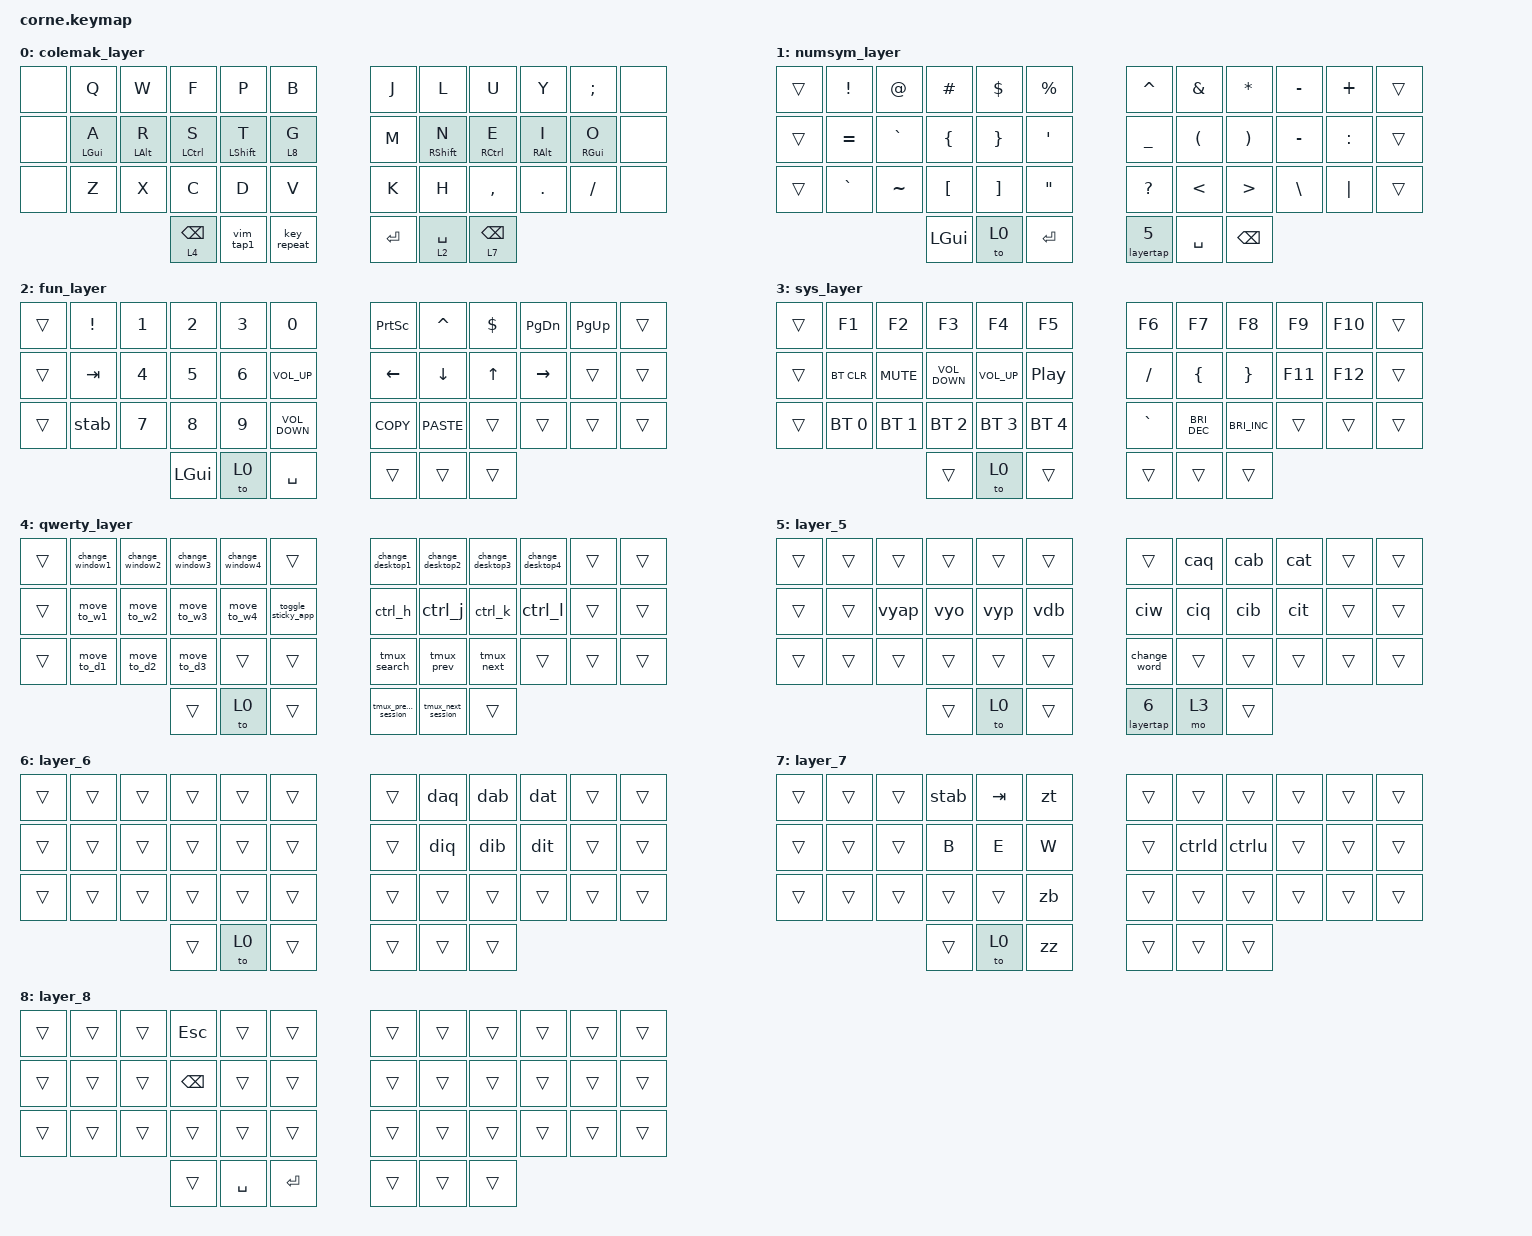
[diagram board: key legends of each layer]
/*
 * Copyright (c) 2020 The ZMK Contributors
 *
 * SPDX-License-Identifier: MIT
 */

#include <behaviors.dtsi>
#include <dt-bindings/zmk/bt.h>
#include <dt-bindings/zmk/keys.h>

/ {
    combos {
        compatible = "zmk,combos";

        capsword {
            bindings = <&shift LEFT_SHIFT>;
            key-positions = <8 9>;
        };

        escape {
            bindings = <&kp ESCAPE>;
            key-positions = <20 21>;
        };

        semicolon {
            bindings = <&kp SEMICOLON>;
            key-positions = <7 8>;
        };

        capslock {
            bindings = <&caps_word>;
            key-positions = <2 9>;
        };

        bac {
            bindings = <&kp BACKSLASH>;
            key-positions = <32 31>;
        };
    };

    conditional_layers { compatible = "zmk,conditional-layers"; };

    macros {
        change_window1: change_window1 {
            compatible = "zmk,behavior-macro";
            #binding-cells = <0>;
            bindings =
                <&macro_press>,
                <&kp LEFT_SHIFT &kp LEFT_ALT>,
                <&macro_tap>,
                <&kp Q>,
                <&macro_release>,
                <&kp LEFT_SHIFT &kp LEFT_ALT>;

            label = "CHANGE_WINDOW1";
        };

        change_window2: change_window2 {
            compatible = "zmk,behavior-macro";
            #binding-cells = <0>;
            bindings =
                <&macro_press>,
                <&kp LEFT_SHIFT &kp LEFT_ALT>,
                <&macro_tap>,
                <&kp W>,
                <&macro_release>,
                <&kp LEFT_SHIFT &kp LEFT_ALT>;

            label = "CHANGE_WINDOW2";
        };

        change_window3: change_window3 {
            compatible = "zmk,behavior-macro";
            #binding-cells = <0>;
            bindings =
                <&macro_press>,
                <&kp LEFT_SHIFT &kp LEFT_ALT>,
                <&macro_tap>,
                <&kp E>,
                <&macro_release>,
                <&kp LEFT_SHIFT &kp LEFT_ALT>;

            label = "CHANGE_WINDOW3";
        };

        change_window4: change_window4 {
            compatible = "zmk,behavior-macro";
            #binding-cells = <0>;
            bindings =
                <&macro_press>,
                <&kp LEFT_SHIFT &kp LEFT_ALT>,
                <&macro_tap>,
                <&kp R>,
                <&macro_release>,
                <&kp LEFT_SHIFT &kp LEFT_ALT>;

            label = "CHANGE_WINDOW4";
        };

        change_desktop1: change_desktop1 {
            compatible = "zmk,behavior-macro";
            #binding-cells = <0>;
            bindings =
                <&macro_press>,
                <&kp LEFT_SHIFT &kp LEFT_ALT>,
                <&macro_tap>,
                <&kp NUMBER_1>,
                <&macro_release>,
                <&kp LEFT_SHIFT &kp LEFT_ALT>;

            label = "CHANGE_DESKTOP1";
        };

        change_desktop2: change_desktop2 {
            compatible = "zmk,behavior-macro";
            #binding-cells = <0>;
            bindings =
                <&macro_press>,
                <&kp LEFT_SHIFT &kp LEFT_ALT>,
                <&macro_tap>,
                <&kp NUMBER_2>,
                <&macro_release>,
                <&kp LEFT_SHIFT &kp LEFT_ALT>;

            label = "CHANGE_DESKTOP2";
        };

        change_desktop3: change_desktop3 {
            compatible = "zmk,behavior-macro";
            #binding-cells = <0>;
            bindings =
                <&macro_press>,
                <&kp LEFT_SHIFT &kp LEFT_ALT>,
                <&macro_tap>,
                <&kp NUMBER_3>,
                <&macro_release>,
                <&kp LEFT_SHIFT &kp LEFT_ALT>;

            label = "CHANGE_DESKTOP3";
        };

        change_desktop4: change_desktop4 {
            compatible = "zmk,behavior-macro";
            #binding-cells = <0>;
            bindings =
                <&macro_press>,
                <&kp LEFT_SHIFT &kp LEFT_ALT>,
                <&macro_tap>,
                <&kp NUMBER_4>,
                <&macro_release>,
                <&kp LEFT_SHIFT &kp LEFT_ALT>;

            label = "CHANGE_DESKTOP4";
        };

        move_to_w1: move_to_w1 {
            compatible = "zmk,behavior-macro";
            #binding-cells = <0>;
            bindings =
                <&macro_press>,
                <&kp LEFT_SHIFT &kp LEFT_ALT>,
                <&macro_tap>,
                <&kp A>,
                <&macro_release>,
                <&kp LEFT_SHIFT &kp LEFT_ALT>;

            label = "MOVE_TO_W1";
        };

        move_to_w2: move_to_w2 {
            compatible = "zmk,behavior-macro";
            #binding-cells = <0>;
            bindings =
                <&macro_press>,
                <&kp LEFT_SHIFT &kp LEFT_ALT>,
                <&macro_tap>,
                <&kp S>,
                <&macro_release>,
                <&kp LEFT_SHIFT &kp LEFT_ALT>;

            label = "MOVE_TO_W2";
        };

        move_to_w3: move_to_w3 {
            compatible = "zmk,behavior-macro";
            #binding-cells = <0>;
            bindings =
                <&macro_press>,
                <&kp LEFT_SHIFT &kp LEFT_ALT>,
                <&macro_tap>,
                <&kp D>,
                <&macro_release>,
                <&kp LEFT_SHIFT &kp LEFT_ALT>;

            label = "MOVE_TO_W3";
        };

        move_to_w4: move_to_w4 {
            compatible = "zmk,behavior-macro";
            #binding-cells = <0>;
            bindings =
                <&macro_press>,
                <&kp LEFT_SHIFT &kp LEFT_ALT>,
                <&macro_tap>,
                <&kp F>,
                <&macro_release>,
                <&kp LEFT_SHIFT &kp LEFT_ALT>;

            label = "MOVE_TO_W4";
        };

        move_to_d1: move_to_d1 {
            compatible = "zmk,behavior-macro";
            #binding-cells = <0>;
            bindings =
                <&macro_press>,
                <&kp LEFT_SHIFT &kp LEFT_ALT>,
                <&macro_tap>,
                <&kp Z>,
                <&macro_release>,
                <&kp LEFT_SHIFT &kp LEFT_ALT>;

            label = "MOVE_TO_D1";
        };

        move_to_d2: move_to_d2 {
            compatible = "zmk,behavior-macro";
            #binding-cells = <0>;
            bindings =
                <&macro_press>,
                <&kp LEFT_SHIFT &kp LEFT_ALT>,
                <&macro_tap>,
                <&kp X>,
                <&macro_release>,
                <&kp LEFT_SHIFT &kp LEFT_ALT>;

            label = "MOVE_TO_D2";
        };

        move_to_d3: move_to_d3 {
            compatible = "zmk,behavior-macro";
            #binding-cells = <0>;
            bindings =
                <&macro_press>,
                <&kp LEFT_SHIFT &kp LEFT_ALT>,
                <&macro_tap>,
                <&kp C>,
                <&macro_release>,
                <&kp LEFT_SHIFT &kp LEFT_ALT>;

            label = "MOVE_TO_D3";
        };

        toggle_sticky_app: toggle_sticky_app {
            compatible = "zmk,behavior-macro";
            #binding-cells = <0>;
            bindings =
                <&macro_press>,
                <&kp LEFT_SHIFT &kp LEFT_ALT>,
                <&macro_tap>,
                <&kp L>,
                <&macro_release>,
                <&kp LEFT_SHIFT &kp LEFT_ALT>;

            label = "TOGGLE_STICKY_APP";
        };

        cib: cib {
            compatible = "zmk,behavior-macro";
            #binding-cells = <0>;
            bindings = <&macro_tap>, <&kp C &kp I &kp B>;

            label = "CIB";
        };

        cab: cab {
            compatible = "zmk,behavior-macro";
            #binding-cells = <0>;
            bindings = <&macro_tap>, <&kp C &kp A &kp B>;

            label = "CAB";
        };

        ciq: ciq {
            compatible = "zmk,behavior-macro";
            #binding-cells = <0>;
            bindings = <&macro_tap>, <&kp C &kp I &kp Q>;

            label = "CIQ";
        };

        caq: caq {
            compatible = "zmk,behavior-macro";
            #binding-cells = <0>;
            bindings = <&macro_tap>, <&kp C &kp A &kp Q>;

            label = "CAQ";
        };

        cat: cat {
            compatible = "zmk,behavior-macro";
            #binding-cells = <0>;
            bindings = <&macro_tap>, <&kp C &kp A &kp T>;

            label = "CAT";
        };

        cit: cit {
            compatible = "zmk,behavior-macro";
            #binding-cells = <0>;
            bindings = <&macro_tap>, <&kp C &kp I &kp T>;

            label = "CIT";
        };

        dib: dib {
            compatible = "zmk,behavior-macro";
            #binding-cells = <0>;
            bindings = <&macro_tap>, <&kp D &kp I &kp B>;

            label = "DIB";
        };

        dab: dab {
            compatible = "zmk,behavior-macro";
            #binding-cells = <0>;
            bindings = <&macro_tap>, <&kp D &kp A &kp B>;

            label = "DAB";
        };

        daq: daq {
            compatible = "zmk,behavior-macro";
            #binding-cells = <0>;
            bindings = <&macro_tap>, <&kp D &kp A &kp Q>;

            label = "DAQ";
        };

        diq: diq {
            compatible = "zmk,behavior-macro";
            #binding-cells = <0>;
            bindings = <&macro_tap>, <&kp D &kp I &kp Q>;

            label = "DIQ";
        };

        dat: dat {
            compatible = "zmk,behavior-macro";
            #binding-cells = <0>;
            bindings = <&macro_tap>, <&kp D &kp A &kp T>;

            label = "DAT";
        };

        vyap: vyap {
            compatible = "zmk,behavior-macro";
            #binding-cells = <0>;
            bindings = <&macro_tap>, <&kp V &kp Y &kp A &kp P>;

            label = "VYAP";
        };

        vyo: vyo {
            compatible = "zmk,behavior-macro";
            #binding-cells = <0>;
            bindings = <&macro_tap>, <&kp V &kp Y &kp O>;

            label = "VYO";
        };

        vyp: vyp {
            compatible = "zmk,behavior-macro";
            #binding-cells = <0>;
            bindings = <&macro_tap>, <&kp V &kp Y &kp P>;

            label = "VYP";
        };

        vdb: vdb {
            compatible = "zmk,behavior-macro";
            #binding-cells = <0>;
            bindings = <&macro_tap>, <&kp V &kp D &kp B>;

            label = "VDB";
        };

        ctrlu: ctrlu {
            compatible = "zmk,behavior-macro";
            #binding-cells = <0>;
            bindings =
                <&macro_press>,
                <&kp LEFT_CONTROL>,
                <&macro_tap>,
                <&kp U>,
                <&macro_release>,
                <&kp LEFT_CONTROL>;

            label = "CTRLU";
        };

        stab: stab {
            compatible = "zmk,behavior-macro";
            #binding-cells = <0>;
            bindings =
                <&macro_press>,
                <&kp LEFT_SHIFT>,
                <&macro_tap>,
                <&kp TAB>,
                <&macro_release>,
                <&kp LEFT_SHIFT>;

            label = "STAB";
        };

        ctrld: ctrld {
            compatible = "zmk,behavior-macro";
            #binding-cells = <0>;
            bindings =
                <&macro_press>,
                <&kp LEFT_CONTROL>,
                <&macro_tap>,
                <&kp D>,
                <&macro_release>,
                <&kp LEFT_CONTROL>;

            label = "CTRLD";
        };

        zz: zz {
            compatible = "zmk,behavior-macro";
            #binding-cells = <0>;
            bindings = <&macro_tap>, <&kp Z &kp Z>;

            label = "ZZ";
        };

        change_word: change_word {
            compatible = "zmk,behavior-macro";
            #binding-cells = <0>;
            bindings = <&macro_tap>, <&kp C &kp W>;

            label = "CHANGE_WORD";
        };

        ciw: ciw {
            compatible = "zmk,behavior-macro";
            #binding-cells = <0>;
            bindings = <&macro_tap>, <&kp C &kp I &kp W>;

            label = "CIW";
        };

        ctrl_h: ctrl_h {
            compatible = "zmk,behavior-macro";
            #binding-cells = <0>;
            bindings =
                <&macro_press>,
                <&kp LEFT_CONTROL>,
                <&macro_tap>,
                <&kp H>,
                <&macro_release>,
                <&kp LEFT_CONTROL>;

            label = "CTRL_H";
        };

        ctrl_j: ctrl_j {
            compatible = "zmk,behavior-macro";
            #binding-cells = <0>;
            bindings =
                <&macro_press>,
                <&kp LEFT_CONTROL>,
                <&macro_tap>,
                <&kp J>,
                <&macro_release>,
                <&kp LEFT_CONTROL>;

            label = "CTRL_J";
        };

        ctrl_k: ctrl_k {
            compatible = "zmk,behavior-macro";
            #binding-cells = <0>;
            bindings =
                <&macro_press>,
                <&kp LEFT_CONTROL>,
                <&macro_tap>,
                <&kp K>,
                <&macro_release>,
                <&kp LEFT_CONTROL>;

            label = "CTRL_K";
        };

        ctrl_l: ctrl_l {
            compatible = "zmk,behavior-macro";
            #binding-cells = <0>;
            bindings =
                <&macro_press>,
                <&kp LEFT_CONTROL>,
                <&macro_tap>,
                <&kp L>,
                <&macro_release>,
                <&kp LEFT_CONTROL>;

            label = "CTRL_L";
        };

        change_window1_mac: change_window1_mac {
            compatible = "zmk,behavior-macro";
            #binding-cells = <0>;
            bindings =
                <&macro_press>,
                <&kp LEFT_CONTROL>,
                <&macro_tap>,
                <&kp NUMBER_1>,
                <&macro_release>,
                <&kp LEFT_CONTROL>;

            label = "CHANGE_WINDOW1_MAC";
        };

        change_window2_mac: change_window2_mac {
            compatible = "zmk,behavior-macro";
            #binding-cells = <0>;
            bindings =
                <&macro_press>,
                <&kp LEFT_CONTROL>,
                <&macro_tap>,
                <&kp NUMBER_2>,
                <&macro_release>,
                <&kp LEFT_CONTROL>;

            label = "CHANGE_WINDOW2_MAC";
        };

        change_window3_mac: change_window3_mac {
            compatible = "zmk,behavior-macro";
            #binding-cells = <0>;
            bindings =
                <&macro_press>,
                <&kp LEFT_CONTROL>,
                <&macro_tap>,
                <&kp NUMBER_3>,
                <&macro_release>,
                <&kp LEFT_CONTROL>;

            label = "CHANGE_WINDOW3_MAC";
        };

        change_window4_mac: change_window4_mac {
            compatible = "zmk,behavior-macro";
            #binding-cells = <0>;
            bindings =
                <&macro_press>,
                <&kp LEFT_CONTROL>,
                <&macro_tap>,
                <&kp NUMBER_4>,
                <&macro_release>,
                <&kp LEFT_CONTROL>;

            label = "CHANGE_WINDOW4_MAC";
        };

        change_window5_mac: change_window5_mac {
            compatible = "zmk,behavior-macro";
            #binding-cells = <0>;
            bindings =
                <&macro_press>,
                <&kp LEFT_CONTROL>,
                <&macro_tap>,
                <&kp N5>,
                <&macro_release>,
                <&kp LEFT_CONTROL>;

            label = "CHANGE_WINDOW5_MAC";
        };

        move_app_next_mac: move_app_next_mac {
            compatible = "zmk,behavior-macro";
            #binding-cells = <0>;
            bindings =
                <&macro_press>,
                <&kp LEFT_CONTROL &kp LEFT_SHIFT>,
                <&macro_tap>,
                <&kp S>,
                <&macro_release>,
                <&kp LEFT_CONTROL &kp LEFT_SHIFT>;

            label = "MOVE_APP_NEXT_MAC";
        };

        move_app_prev_mac: move_app_prev_mac {
            compatible = "zmk,behavior-macro";
            #binding-cells = <0>;
            bindings =
                <&macro_press>,
                <&kp LEFT_CONTROL &kp LEFT_SHIFT>,
                <&macro_tap>,
                <&kp A>,
                <&macro_release>,
                <&kp LEFT_CONTROL &kp LEFT_SHIFT>;

            label = "MOVE_APP_PREV_MAC";
        };

        tmux_next: tmux_next {
            compatible = "zmk,behavior-macro";
            #binding-cells = <0>;
            bindings =
                <&macro_press>,
                <&kp LEFT_CONTROL>,
                <&macro_tap>,
                <&kp A>,
                <&macro_release>,
                <&kp LEFT_CONTROL>,
                <&macro_tap>,
                <&kp L>;

            label = "TMUX_NEXT";
        };

        tmux_prev: tmux_prev {
            compatible = "zmk,behavior-macro";
            #binding-cells = <0>;
            bindings =
                <&macro_press>,
                <&kp LEFT_CONTROL>,
                <&macro_tap>,
                <&kp A>,
                <&macro_release>,
                <&kp LEFT_CONTROL>,
                <&macro_tap>,
                <&kp H>;

            label = "TMUX_PREV";
        };

        dit: dit {
            compatible = "zmk,behavior-macro";
            #binding-cells = <0>;
            bindings = <&macro_tap>, <&kp D &kp I &kp T>;

            label = "DIT";
        };

        zt: zt {
            compatible = "zmk,behavior-macro";
            #binding-cells = <0>;
            bindings = <&macro_tap>, <&kp Z &kp T>;

            label = "ZT";
        };

        zb: zb {
            compatible = "zmk,behavior-macro";
            #binding-cells = <0>;
            bindings = <&macro_tap>, <&kp Z &kp B>;

            label = "ZB";
        };

        tmux_search: tmux_search {
            compatible = "zmk,behavior-macro";
            #binding-cells = <0>;
            bindings =
                <&macro_press>,
                <&kp LEFT_CONTROL>,
                <&macro_tap>,
                <&kp A>,
                <&macro_release>,
                <&kp LEFT_CONTROL>,
                <&macro_tap>,
                <&kp S>;

            label = "TMUX_SEARCH";
        };

        tmux_previous_session: tmux_previous_session {
            compatible = "zmk,behavior-macro";
            #binding-cells = <0>;
            bindings =
                <&macro_press>,
                <&kp LEFT_CONTROL>,
                <&macro_tap>,
                <&kp A>,
                <&macro_release>,
                <&kp LEFT_CONTROL>,
                <&macro_tap>,
                <&kp LEFT_PARENTHESIS>;

            label = "TMUX_PREVIOUS_SESSION";
        };

        tmux_next_session: tmux_next_session {
            compatible = "zmk,behavior-macro";
            #binding-cells = <0>;
            bindings =
                <&macro_press>,
                <&kp LEFT_CONTROL>,
                <&macro_tap>,
                <&kp A>,
                <&macro_release>,
                <&kp LEFT_CONTROL>,
                <&macro_tap>,
                <&kp RIGHT_PARENTHESIS>;

            label = "TMUX_NEXT_SESSION";
        };
    };

    behaviors {
        shift: shift {
            compatible = "zmk,behavior-sticky-key";
            label = "SHIFT";
            bindings = <&kp>;
            #binding-cells = <1>;
            release-after-ms = <(-1)>;
            quick-release;
        };

        layertap: layertap {
            compatible = "zmk,behavior-sticky-key";
            label = "LAYERTAP";
            bindings = <&mo>;
            #binding-cells = <1>;
            release-after-ms = <(-1)>;
        };

        hmr: hmr {
            compatible = "zmk,behavior-hold-tap";
            label = "HMR";
            bindings = <&kp>, <&kp>;

            #binding-cells = <2>;
            tapping-term-ms = <200>;
            quick-tap-ms = <175>;
            flavor = "tap-preferred";
            hold-trigger-on-release;
            hold-trigger-key-positions = <1 4 5 13 14 15 16 17 25 26 27 28 29 2 3 36 37 38 39 40 41>;
        };

        hml: hml {
            compatible = "zmk,behavior-hold-tap";
            label = "HML";
            bindings = <&kp>, <&kp>;

            #binding-cells = <2>;
            tapping-term-ms = <200>;
            quick-tap-ms = <175>;
            flavor = "tap-preferred";
            hold-trigger-key-positions = <10 6 7 8 9 10 18 19 20 21 22 30 31 32 33 34 39 40 41 38 37 36>;
            hold-trigger-on-release;
        };

        vim_tap1: vim_tap1 {
            compatible = "zmk,behavior-tap-dance";
            label = "VIM_TAP1";
            #binding-cells = <0>;
            bindings = <&layertap 1>;
        };
    };

    keymap {
        compatible = "zmk,keymap";

        colemak_layer {
            bindings = <
&none  &kp Q        &kp W            &kp F                &kp P              &kp B          &kp J      &kp L               &kp U                 &kp Y             &kp SEMICOLON  &none
&none  &hml LGUI A  &hml LEFT_ALT R  &hml LEFT_CONTROL S  &hml LEFT_SHIFT T  &lt 8 G        &kp M      &hmr RIGHT_SHIFT N  &hmr RIGHT_CONTROL E  &hmr RIGHT_ALT I  &hmr RGUI O    &none
&none  &kp Z        &kp X            &kp C                &kp D              &kp V          &kp K      &kp H               &kp COMMA             &kp DOT           &kp FSLH       &none
                                     &lt 4 BACKSPACE      &vim_tap1          &key_repeat    &kp ENTER  &lt 2 SPACE         &lt 7 BACKSPACE
            >;
        };

        numsym_layer {
            bindings = <
&trans  &kp EXCLAMATION  &kp AT_SIGN  &kp HASH          &kp DOLLAR         &kp PERCENT          &kp CARET       &kp AMPERSAND         &kp ASTERISK           &kp MINUS      &kp PLUS   &trans
&trans  &kp EQUAL        &kp GRAVE    &kp LEFT_BRACE    &kp RIGHT_BRACE    &kp SINGLE_QUOTE     &kp UNDERSCORE  &kp LEFT_PARENTHESIS  &kp RIGHT_PARENTHESIS  &kp MINUS      &kp COLON  &trans
&trans  &kp GRAVE        &kp TILDE    &kp LEFT_BRACKET  &kp RIGHT_BRACKET  &kp DOUBLE_QUOTES    &kp QUESTION    &kp LESS_THAN         &kp GREATER_THAN       &kp BACKSLASH  &kp PIPE   &trans
                                      &kp LGUI          &to 0              &kp ENTER            &layertap 5     &kp SPACE             &kp BACKSPACE
            >;
        };

        fun_layer {
            bindings = <
&trans  &kp EXCLAMATION  &kp NUMBER_1  &kp NUMBER_2  &kp NUMBER_3  &kp NUMBER_0         &kp PRINTSCREEN  &kp CARET       &kp DOLLAR    &kp PAGE_DOWN  &kp PAGE_UP  &trans
&trans  &kp TAB          &kp NUMBER_4  &kp N5        &kp NUMBER_6  &kp C_VOLUME_UP      &kp LEFT_ARROW   &kp DOWN_ARROW  &kp UP_ARROW  &kp RIGHT      &trans       &trans
&trans  &stab            &kp NUMBER_7  &kp NUMBER_8  &kp NUMBER_9  &kp C_VOLUME_DOWN    &kp K_COPY       &kp K_PASTE     &trans        &trans         &trans       &trans
                                       &kp LGUI      &to 0         &kp SPACE            &trans           &trans          &trans
            >;
        };

        sys_layer {
            bindings = <
&trans  &kp F1        &kp F2        &kp F3             &kp F4           &kp F5          &kp F6     &kp F7                &kp F8                &kp F9   &kp F10  &trans
&trans  &bt BT_CLR    &kp K_MUTE    &kp C_VOLUME_DOWN  &kp C_VOLUME_UP  &kp C_PP        &kp SLASH  &kp LEFT_BRACE        &kp RIGHT_BRACE       &kp F11  &kp F12  &trans
&trans  &bt BT_SEL 0  &bt BT_SEL 1  &bt BT_SEL 2       &bt BT_SEL 3     &bt BT_SEL 4    &kp GRAVE  &kp C_BRIGHTNESS_DEC  &kp C_BRIGHTNESS_INC  &trans   &trans   &trans
                                    &trans             &to 0            &trans          &trans     &trans                &trans
            >;
        };

        qwerty_layer {
            bindings = <
&trans  &change_window1  &change_window2  &change_window3  &change_window4  &trans                &change_desktop1        &change_desktop2    &change_desktop3  &change_desktop4  &trans  &trans
&trans  &move_to_w1      &move_to_w2      &move_to_w3      &move_to_w4      &toggle_sticky_app    &ctrl_h                 &ctrl_j             &ctrl_k           &ctrl_l           &trans  &trans
&trans  &move_to_d1      &move_to_d2      &move_to_d3      &trans           &trans                &tmux_search            &tmux_prev          &tmux_next        &trans            &trans  &trans
                                          &trans           &to 0            &trans                &tmux_previous_session  &tmux_next_session  &trans
            >;
        };

        layer_5 {
            bindings = <
&trans  &trans  &trans  &trans  &trans  &trans    &trans        &caq    &cab    &cat    &trans  &trans
&trans  &trans  &vyap   &vyo    &vyp    &vdb      &ciw          &ciq    &cib    &cit    &trans  &trans
&trans  &trans  &trans  &trans  &trans  &trans    &change_word  &trans  &trans  &trans  &trans  &trans
                        &trans  &to 0   &trans    &layertap 6   &mo 3   &trans
            >;
        };

        layer_6 {
            bindings = <
&trans  &trans  &trans  &trans  &trans  &trans    &trans  &daq    &dab    &dat    &trans  &trans
&trans  &trans  &trans  &trans  &trans  &trans    &trans  &diq    &dib    &dit    &trans  &trans
&trans  &trans  &trans  &trans  &trans  &trans    &trans  &trans  &trans  &trans  &trans  &trans
                        &trans  &to 0   &trans    &trans  &trans  &trans
            >;
        };

        layer_7 {
            bindings = <
&trans  &trans  &trans  &stab   &kp TAB  &zt      &trans  &trans  &trans  &trans  &trans  &trans
&trans  &trans  &trans  &kp B   &kp E    &kp W    &trans  &ctrld  &ctrlu  &trans  &trans  &trans
&trans  &trans  &trans  &trans  &trans   &zb      &trans  &trans  &trans  &trans  &trans  &trans
                        &trans  &to 0    &zz      &trans  &trans  &trans
            >;
        };

        layer_8 {
            bindings = <
&trans  &trans  &trans  &kp ESC        &trans     &trans       &trans  &trans  &trans  &trans  &trans  &trans
&trans  &trans  &trans  &kp BACKSPACE  &trans     &trans       &trans  &trans  &trans  &trans  &trans  &trans
&trans  &trans  &trans  &trans         &trans     &trans       &trans  &trans  &trans  &trans  &trans  &trans
                        &trans         &kp SPACE  &kp ENTER    &trans  &trans  &trans
            >;
        };
    };
};
